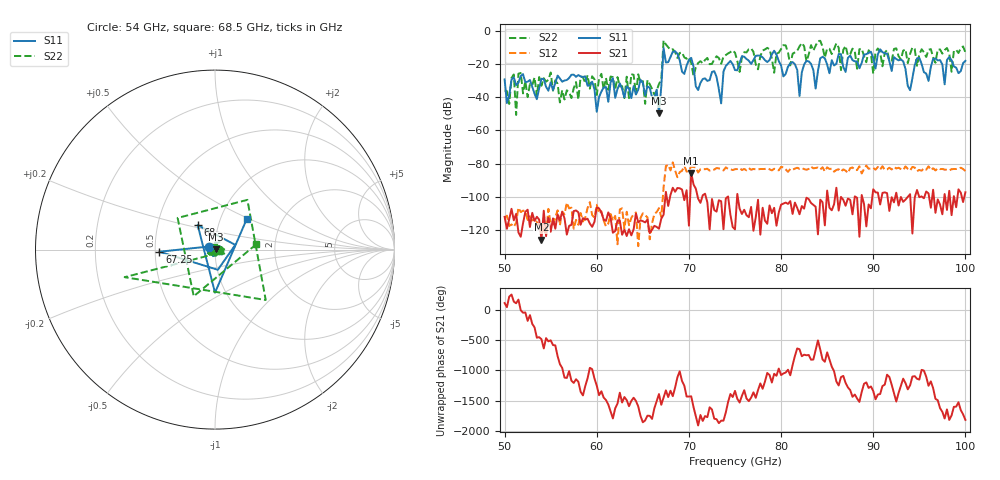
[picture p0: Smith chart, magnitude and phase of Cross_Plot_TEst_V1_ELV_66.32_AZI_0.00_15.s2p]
! 11/25/2026 1:23:18 PM
! C:\ANRITSUVNA\TEMP\TEMP.S2P
! CHANNEL.1
! TR.MEASUREMENT
! RAW.DATA
# HZ S RI R 50.0
! FREQ.HZ  S11RE  S11IM  S21RE  S21IM  S12RE  S12IM  S22RE  S22IM
!; PortSelection: Port_12
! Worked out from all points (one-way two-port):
!   201 points, 50 GHz to 100 GHz, reference 50 ohm
!   highest |S21| = -85.71 dB at 70.25 GHz (marker M1); lowest = -126.0 dB at 54 GHz (marker M2)
!   lowest |S11| = -49.7 dB at 66.75 GHz (marker M3), VSWR 1.01, Z = 50.3 + j0.0714 ohm
!   |S11| at or under -10 dB: start of sweep to end of sweep
!   |S22| runs from -50.7 to -5.6 dB; largest |S21 - S12| = 0.0001
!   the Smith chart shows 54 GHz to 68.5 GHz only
!   S11 on the Smith chart (normalised r, x): 54 GHz: 0.93, +0.03; 67.25 GHz: 0.53, -0.01; 68 GHz: 0.80, +0.22; 68.5 GHz: 1.33, +0.49
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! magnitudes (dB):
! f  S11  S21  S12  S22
! 50 GHz  -29.1  -112.3  -112.8  -35.8
! 51 GHz  -27.9  -114.4  -118.3  -26.2
! 51.25 GHz  -32.6  -110.4  -115.8  -50.7
! 51.5 GHz  -31.2  -121.7  -106.7  -25.7
! 54 GHz  -28.7  -126.0  -116.9  -32.9
! 58.5 GHz  -27.7  -113.0  -115.0  -27.7
! 60 GHz  -48.8  -106.5  -104.9  -38.6
! 61.75 GHz  -28.4  -121.9  -114.7  -27.7
! 66.75 GHz  -49.7  -119.5  -107.0  -31.9
! 67.25 GHz  -10.2  -111.0  -94.6  -5.6
! 68 GHz  -15.5  -99.0  -84.2  -11.3
! 68.5 GHz  -12.1  -97.1  -84.3  -12.6
! 70.25 GHz  -16.1  -85.7  -81.9  -19.1
! 73.5 GHz  -43.6  -102.8  -83.5  -19.7
! 73.75 GHz  -24.4  -119.7  -84.2  -15.4
! 75 GHz  -23.5  -119.8  -83.5  -13.0
! 82 GHz  -39.2  -110.7  -83.2  -9.1
! 83.5 GHz  -23.4  -105.0  -82.9  -11.8
! 91.75 GHz  -18.2  -108.7  -82.6  -17.6
! 94 GHz  -35.7  -98.6  -84.3  -13.7
! 94.75 GHz  -16.4  -96.0  -84.6  -20.9
! 100 GHz  -17.9  -97.4  -84.6  -12.9
